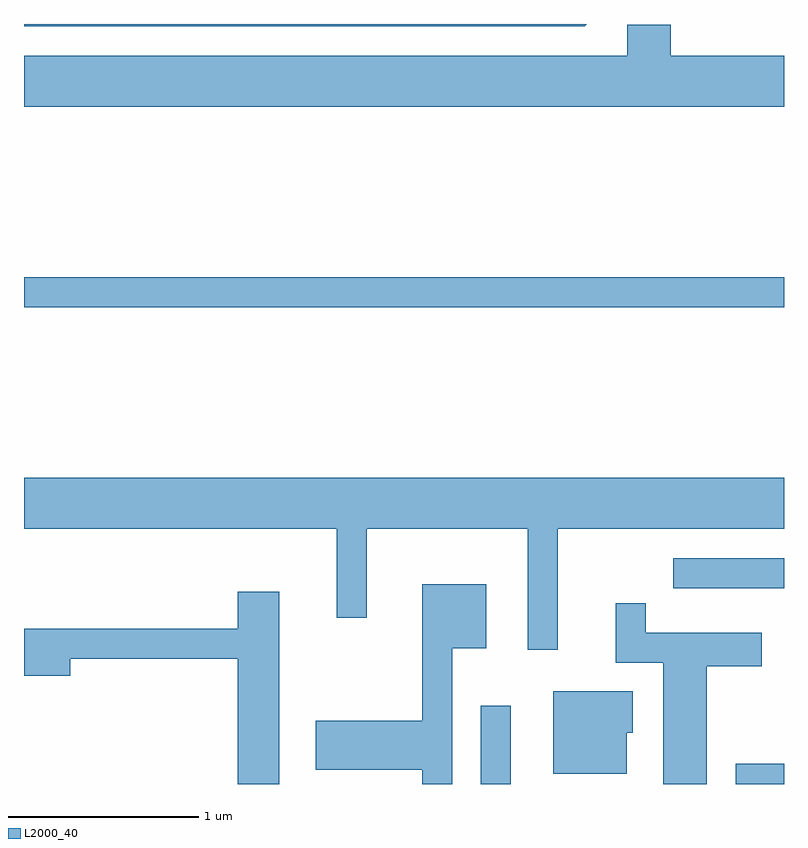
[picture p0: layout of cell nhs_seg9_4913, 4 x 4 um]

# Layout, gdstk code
import gdstk
lib = gdstk.Library(unit=1e-6, precision=1e-09)
def R(c, l, rs):  # rectangles x0, y0, x1, y1
    for r in rs: c.add(gdstk.rectangle(r[:2], r[2:], *l))
def P(c, l, *ps):  # polygons
    for p in ps: c.add(gdstk.Polygon(p, *l))
L2000_40 = (2000, 40)

nhs_seg9_4913 = lib.new_cell('nhs_seg9_4913')
R(nhs_seg9_4913, L2000_40, [(332.016,2030.432,332.174,2030.843), (333.356,2030.432,333.611,2030.539), (333.028,2031.461,333.611,2031.619), (329.611,2032.941,333.611,2033.099)])
P(nhs_seg9_4913, L2000_40, [(332.573,2034.432),(329.611,2034.432),(329.611,2034.421),(332.562,2034.421)],
  [(333.611,2034.264),(333.014,2034.264),(333.014,2034.429),(332.786,2034.429),(332.786,2034.264),(329.611,2034.264),(329.611,2033.996),(333.611,2033.996)],
  [(332.419,2031.776),(333.611,2031.776),(333.611,2032.044),(329.611,2032.044),(329.611,2031.776),(331.256,2031.776),(331.256,2031.308),(331.414,2031.308),(331.414,2031.776),(332.261,2031.776),(332.261,2031.138),(332.419,2031.138)],
  [(331.864,2031.146),(332.044,2031.146),(332.044,2031.484),(331.706,2031.484),(331.706,2030.764),(331.146,2030.764),(331.146,2030.506),(331.706,2030.506),(331.706,2030.432),(331.864,2030.432)],
  [(330.954,2031.444),(330.736,2031.444),(330.736,2031.249),(329.611,2031.249),(329.611,2031.001),(329.854,2031.001),(329.854,2031.091),(330.736,2031.091),(330.736,2030.432),(330.954,2030.432)],
  [(333.204,2031.051),(333.494,2031.051),(333.494,2031.229),(332.884,2031.229),(332.884,2031.383),(332.726,2031.383),(332.726,2031.071),(332.976,2031.071),(332.976,2030.432),(333.204,2030.432)],
  [(332.784,2030.701),(332.814,2030.701),(332.814,2030.919),(332.396,2030.919),(332.396,2030.486),(332.784,2030.486)])

lib.write_gds('nhs_seg9_4913.gds')
